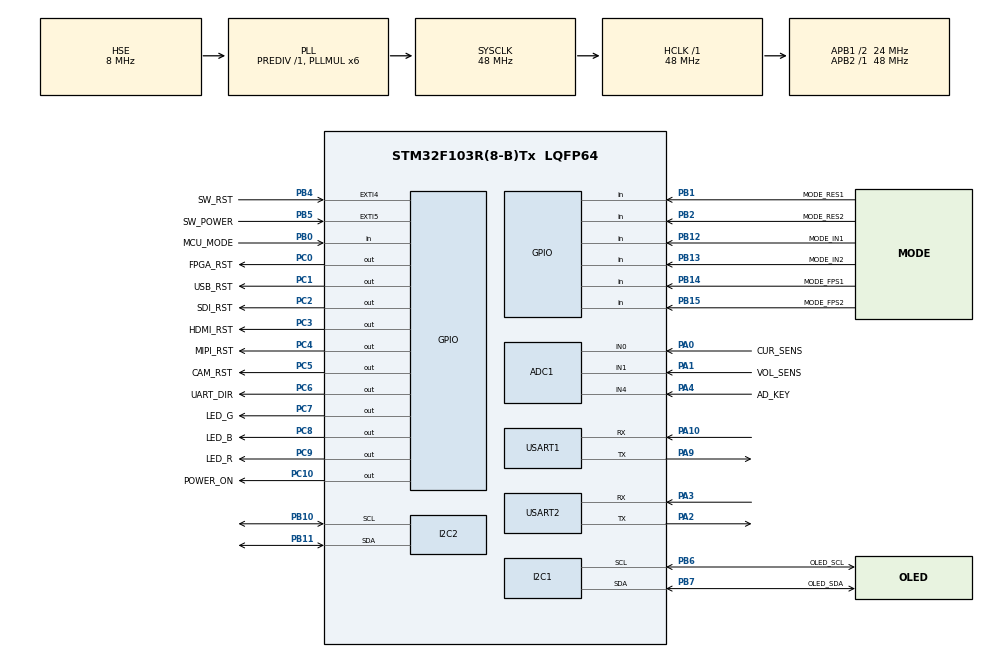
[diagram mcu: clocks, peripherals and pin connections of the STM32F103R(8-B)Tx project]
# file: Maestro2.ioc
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ADC1.Channel-0\#ChannelRegularConversion=ADC_CHANNEL_0
ADC1.Channel-1\#ChannelRegularConversion=ADC_CHANNEL_1
ADC1.Channel-2\#ChannelRegularConversion=ADC_CHANNEL_4
ADC1.NbrOfConversion=3
ADC1.NbrOfConversionFlag=1
ADC1.Rank-0\#ChannelRegularConversion=1
ADC1.Rank-1\#ChannelRegularConversion=2
ADC1.Rank-2\#ChannelRegularConversion=3
ADC1.SamplingTime-0\#ChannelRegularConversion=ADC_SAMPLETIME_28CYCLES_5
ADC1.SamplingTime-1\#ChannelRegularConversion=ADC_SAMPLETIME_28CYCLES_5
ADC1.SamplingTime-2\#ChannelRegularConversion=ADC_SAMPLETIME_28CYCLES_5
ADC1.master=1
Dma.ADC1.0.Direction=DMA_PERIPH_TO_MEMORY
Dma.ADC1.0.Instance=DMA1_Channel1
Dma.ADC1.0.MemDataAlignment=DMA_MDATAALIGN_WORD
Dma.ADC1.0.MemInc=DMA_MINC_ENABLE
Dma.ADC1.0.Mode=DMA_CIRCULAR
Dma.ADC1.0.PeriphDataAlignment=DMA_PDATAALIGN_WORD
Dma.ADC1.0.PeriphInc=DMA_PINC_DISABLE
Dma.ADC1.0.Priority=DMA_PRIORITY_LOW
Dma.Request0=ADC1
I2C1.I2C_Mode=I2C_Fast
I2C2.I2C_Mode=I2C_Fast
Mcu.Family=STM32F1
Mcu.Name=STM32F103R(8-B)Tx
Mcu.Package=LQFP64
NVIC.DMA1_Channel1_IRQn=true\:0\:0\:false\:false\:true\:false\:true\:true
NVIC.EXTI4_IRQn=true\:0\:0\:false\:false\:true\:true\:true\:true
NVIC.EXTI9_5_IRQn=true\:0\:0\:false\:false\:true\:true\:true\:true
NVIC.PriorityGroup=NVIC_PRIORITYGROUP_4
NVIC.TIM2_IRQn=true\:0\:0\:false\:false\:true\:true\:true\:true
PA0-WKUP.GPIO_Label=CUR_SENS
PA0-WKUP.Signal=ADCx_IN0
PA1.GPIO_Label=VOL_SENS
PA1.Signal=ADCx_IN1
PA10.Mode=Asynchronous
PA10.Signal=USART1_RX
PA13.Mode=Serial_Wire
PA13.Signal=SYS_JTMS-SWDIO
PA14.Mode=Serial_Wire
PA14.Signal=SYS_JTCK-SWCLK
PA2.Mode=Asynchronous
PA2.Signal=USART2_TX
PA3.Mode=Asynchronous
PA3.Signal=USART2_RX
PA4.GPIO_Label=AD_KEY
PA4.Signal=ADCx_IN4
PA9.Mode=Asynchronous
PA9.Signal=USART1_TX
PB0.GPIO_Label=MCU_MODE
PB0.Signal=GPIO_Input
PB1.GPIO_Label=MODE_RES1
PB1.Signal=GPIO_Input
PB10.Mode=I2C
PB10.Signal=I2C2_SCL
PB11.Mode=I2C
PB11.Signal=I2C2_SDA
PB12.GPIO_Label=MODE_IN1
PB12.Signal=GPIO_Input
PB13.GPIO_Label=MODE_IN2
PB13.Signal=GPIO_Input
PB14.GPIO_Label=MODE_FPS1
PB14.Signal=GPIO_Input
PB15.GPIO_Label=MODE_FPS2
PB15.Signal=GPIO_Input
PB2.GPIO_Label=MODE_RES2
PB2.Signal=GPIO_Input
PB4.GPIO_Label=SW_RST
PB4.GPIO_ModeDefaultEXTI=GPIO_MODE_IT_FALLING
PB4.Signal=GPXTI4
PB5.GPIO_Label=SW_POWER
PB5.GPIO_ModeDefaultEXTI=GPIO_MODE_IT_RISING_FALLING
PB5.Signal=GPXTI5
PB6.GPIO_Label=OLED_SCL
PB6.Mode=I2C
PB6.Signal=I2C1_SCL
PB7.GPIO_Label=OLED_SDA
PB7.Mode=I2C
PB7.Signal=I2C1_SDA
PC0.GPIO_Label=FPGA_RST
PC0.Signal=GPIO_Output
PC1.GPIO_Label=USB_RST
PC1.Signal=GPIO_Output
PC10.GPIO_Label=POWER_ON
PC10.Signal=GPIO_Output
PC2.GPIO_Label=SDI_RST
PC2.Signal=GPIO_Output
PC3.GPIO_Label=HDMI_RST
PC3.Signal=GPIO_Output
PC4.GPIO_Label=MIPI_RST
PC4.Signal=GPIO_Output
PC5.GPIO_Label=CAM_RST
PC5.Signal=GPIO_Output
PC6.GPIO_Label=UART_DIR
PC6.Signal=GPIO_Output
PC7.GPIO_Label=LED_G
PC7.Signal=GPIO_Output
PC8.GPIO_Label=LED_B
PC8.Signal=GPIO_Output
PC9.GPIO_Label=LED_R
PC9.Signal=GPIO_Output
PD0-OSC_IN.Mode=HSE-External-Oscillator
PD0-OSC_IN.Signal=RCC_OSC_IN
PD1-OSC_OUT.Mode=HSE-External-Oscillator
PD1-OSC_OUT.Signal=RCC_OSC_OUT
ProjectManager.HeapSize=0x200
ProjectManager.StackSize=0x400
ProjectManager.TargetToolchain=CMake
RCC.ADCPresc=RCC_ADCPCLK2_DIV4
RCC.AHBFreq_Value=48000000
RCC.APB1CLKDivider=RCC_HCLK_DIV2
RCC.APB1Freq_Value=24000000
RCC.APB1TimFreq_Value=48000000
RCC.APB2Freq_Value=48000000
RCC.APB2TimFreq_Value=48000000
RCC.HCLKFreq_Value=48000000
RCC.PLLMUL=RCC_PLL_MUL6
RCC.PLLSourceVirtual=RCC_PLLSOURCE_HSE
RCC.SYSCLKFreq_VALUE=48000000
RCC.SYSCLKSource=RCC_SYSCLKSOURCE_PLLCLK
RCC.USBFreq_Value=48000000
SH.ADCx_IN0.0=ADC1_IN0,IN0
SH.ADCx_IN1.0=ADC1_IN1,IN1
SH.ADCx_IN4.0=ADC1_IN4,IN4
TIM1.Period=999
TIM1.Prescaler=47
TIM2.Period=9999
TIM2.Prescaler=47
TIM3.Period=9999
TIM3.Prescaler=47
USART1.VirtualMode=VM_ASYNC
USART2.VirtualMode=VM_ASYNC
VP_TIM1_VS_ClockSourceINT.Mode=Internal
VP_TIM2_VS_ClockSourceINT.Mode=Internal
VP_TIM3_VS_ClockSourceINT.Mode=Internal
board=custom

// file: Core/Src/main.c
/* USER CODE BEGIN Header */
/**
  ******************************************************************************
  * @file           : main.c
  * @brief          : Main program body
  ******************************************************************************
  * @attention
  *
  * Copyright (c) 2025 STMicroelectronics.
  * All rights reserved.
  *
  * This software is licensed under terms that can be found in the LICENSE file
  * in the root directory of this software component.
  * If no LICENSE file comes with this software, it is provided AS-IS.
  *
  ******************************************************************************
  */
/* USER CODE END Header */
#include "main.h"

/* USER CODE BEGIN Includes */
#include <tca9555.h>
//#include "SIL9136.h"
#include "ssd1306.h"
#include "ssd1306_tests.h"
#include <stdbool.h>
#include <comm.h>

/* USER CODE END Includes */

/* USER CODE BEGIN PD */
//#define UART_PRINT
//#define TEST_POWERLED

/* USER CODE END PD */

ADC_HandleTypeDef hadc1;
DMA_HandleTypeDef hdma_adc1;

I2C_HandleTypeDef hi2c1;
I2C_HandleTypeDef hi2c2;

TIM_HandleTypeDef htim1;
TIM_HandleTypeDef htim2;
TIM_HandleTypeDef htim3;

UART_HandleTypeDef huart1;
UART_HandleTypeDef huart2;

/* USER CODE BEGIN PV */
volatile uint8_t _flag_scan;       // flag per 100ms
volatile uint8_t _count_scan;      // counter for TIM1
volatile uint8_t _time_reset;      // MCU <-> CAMERA receive data wait
volatile bool _status_power;       // status of cam power
volatile uint8_t _count_sec;
volatile uint8_t _mode_pic;
volatile uint16_t _status_led;
volatile uint8_t _status_mode;
volatile uint8_t error_code;

uint16_t _ADCvol;
uint16_t _ADCcur;
uint16_t _ADCkey;
uint8_t mode_OLED;
//uint8_t flag_camRx;
UARTStatus_t flag_camRX;
uint8_t _count_Rxwait;
uint16_t time_InfoDisplay;

// ADC DMA Variables
uint32_t gADCData[3] = {0,};

PowerLed _pled;

//visca_tx_type txCommand;
uint8_t txCommand[5] = {0x81, 0x09, 0x00, 0x37, 0xFF};

//UART RxD Variables
char str[100] = {0, };
uint8_t rxBuff[10] = {0, };
uint8_t rxBuff_temp[10];
uint8_t buff_count = 0;

bool cam_valid;

// CAMERA INFO
uint16_t _cam_model = 0;
uint16_t _cam_version = 0;

/* USER CODE END PV */

void SystemClock_Config(void);
static void MX_GPIO_Init(void);
static void MX_DMA_Init(void);
static void MX_ADC1_Init(void);
static void MX_I2C1_Init(void);
static void MX_I2C2_Init(void);
static void MX_USART1_UART_Init(void);
static void MX_USART2_UART_Init(void);
static void MX_TIM1_Init(void);
static void MX_TIM2_Init(void);
static void MX_TIM3_Init(void);
static void MX_NVIC_Init(void);
/* USER CODE BEGIN PFP */

void Operate_PowerLed(PowerLed);
void Operate_Led(uint8_t);
void Scan_ModeSwitch();
void Init_Board();
void Power_On();
void Power_Off();
void Scan_ADC();
void On_FPGA();
void On_USB();
void On_SDI();
void On_HDMI();
void On_MIPI();
void Parse_VISCA();
void Sel_uart(bool);
void Send_Message(uint8_t*);
void Check_Power();
//void ErrorHandler();

/* USER CODE END PFP */

/* USER CODE BEGIN 0 */

//--------- time polling function --------//
// _flag_scan : mode switch scan(per 1 s)
// _time_scan : time for CAN Rx wait(per 1 ms)
void HAL_TIM_PeriodElapsedCallback(TIM_HandleTypeDef *htim)
{
	if(htim->Instance == TIM2)
	{
		if(++_count_scan >= 100)
		{
			_flag_scan = 1;
			_count_scan = 0;
		}

	}
	if(htim->Instance == TIM3)
	{
		_time_reset++;
		if(_time_reset == 100)
		{
			//ErrorHandler(1);
			flag_camRX = CAM_RX_FAIL;
			mode_OLED = 2;
		}
	}
}

void HAL_GPIO_EXTI_Callback(uint16_t GPIO_Pin)
{
	if(GPIO_Pin == SW_POWER_Pin)    // power switch push
	{
		Check_Power();
	}
	else if(GPIO_Pin == SW_RST_Pin)    // reset switch push
	{
		if(_status_power == TRUE)
		{
			Sel_uart(TRUE);    // UART CAM <-> MCU
			if (HAL_UART_Transmit(&huart2, txCommand, sizeof(txCommand) / sizeof(uint8_t), 10 != HAL_OK))
			{
		    // 전송 실패 시 에러 처리
				//printf("Send Failed\r\n");
				Sel_uart(FALSE);
				return;
			}
			flag_camRX = CAM_RX_READY;
			_time_reset = 0;
			HAL_TIM_Base_Start_IT(&htim3);
		}
	}
}

void HAL_UART_RxCpltCallback(UART_HandleTypeDef *huart)
{
	if(huart->Instance == USART2)
	{
		if(flag_camRX == CAM_RX_READY)
		{
			if(rxBuff_temp[0] == 0x90)
			{
				buff_count = 0;
				rxBuff[buff_count] = rxBuff_temp[0];
			}
			else
			{
				buff_count++;
				rxBuff[buff_count] = rxBuff_temp[0];
			}

			if(rxBuff_temp[0] == 0xFF)
			{
				Parse_VISCA();
			}
		}
		HAL_UART_Receive_IT(&huart2, rxBuff_temp, 1);
	}
}

/*
 * @brief  카메라로부터의 uart received data 해석 (VISCA protocol)
 *         data format : y0 50 pp pp pp qq qq FF
 *         PPPPPP: Model Code
 *         qqqq : Version
 * @param
 * @param
 * @retval The sum of a and b.
 */

void Parse_VISCA()
{
	if(buff_count == 2 && rxBuff[1] == 0x38)    // CAM <-> MCU 연결시 CAM 전원 인가 후 RX Data
	{
		cam_valid = TRUE;    // Camera 통신 확인 0x90, 0x38, 0xFF

	}
	else if(buff_count == 7 && rxBuff[1] == 0x50)    // 81 09 00 37 FF(CAM_ModlelInq)에 대한 Reply
	{
		_cam_model = rxBuff[2] << 16 | rxBuff[3] << 8 | rxBuff[4];
		_cam_version = rxBuff[5] << 8 | rxBuff[6];
		mode_OLED = 1;
	}
	HAL_TIM_Base_Stop_IT(&htim3);
	flag_camRX = CAM_RX_IDLE;
	buff_count = 0;
#ifdef UART_PRINT
	sprintf(str, "rx time = %d", _time_reset);    // Test 결과 약 8~9 time 걸림
	printf("%s\r\n", str);
#endif
	Sel_uart(FALSE);    // UART 방향 변경: CAM <-> MCU => CAM <-> PC
}

void Send_Message(uint8_t* message)
{
	//HAL_UART_Transmit(&huart2, message, sizeof(message)/sizeof(uint8_t), 100);

}

void Operate_PowerLed(PowerLed pled)
{
	if(pled.command == 0)
	{
		HAL_GPIO_WritePin(LED_R_GPIO_Port, LED_R_Pin, GPIO_PIN_RESET);
		HAL_GPIO_WritePin(LED_G_GPIO_Port, LED_G_Pin, GPIO_PIN_RESET);
		HAL_GPIO_WritePin(LED_B_GPIO_Port, LED_B_Pin, GPIO_PIN_RESET);

	}
	else
	{
		switch(pled.color)
		{
			case RED:
				HAL_GPIO_WritePin(LED_R_GPIO_Port, LED_R_Pin, GPIO_PIN_SET);
				HAL_GPIO_WritePin(LED_G_GPIO_Port, LED_G_Pin, GPIO_PIN_RESET);
				HAL_GPIO_WritePin(LED_B_GPIO_Port, LED_B_Pin, GPIO_PIN_RESET);
				break;
			case GREEN:
				HAL_GPIO_WritePin(LED_R_GPIO_Port, LED_R_Pin, GPIO_PIN_RESET);
				HAL_GPIO_WritePin(LED_G_GPIO_Port, LED_G_Pin, GPIO_PIN_SET);
				HAL_GPIO_WritePin(LED_B_GPIO_Port, LED_B_Pin, GPIO_PIN_RESET);
				break;
			case BLUE:
				HAL_GPIO_WritePin(LED_R_GPIO_Port, LED_R_Pin, GPIO_PIN_RESET);
				HAL_GPIO_WritePin(LED_G_GPIO_Port, LED_G_Pin, GPIO_PIN_RESET);
				HAL_GPIO_WritePin(LED_B_GPIO_Port, LED_B_Pin, GPIO_PIN_SET);
				break;
			case ORANGE:
				HAL_GPIO_WritePin(LED_R_GPIO_Port, LED_R_Pin, GPIO_PIN_SET);
				HAL_GPIO_WritePin(LED_G_GPIO_Port, LED_G_Pin, GPIO_PIN_SET);
				HAL_GPIO_WritePin(LED_B_GPIO_Port, LED_B_Pin, GPIO_PIN_RESET);
				break;
			case PURPLE:
				HAL_GPIO_WritePin(LED_R_GPIO_Port, LED_R_Pin, GPIO_PIN_SET);
				HAL_GPIO_WritePin(LED_G_GPIO_Port, LED_G_Pin, GPIO_PIN_RESET);
				HAL_GPIO_WritePin(LED_B_GPIO_Port, LED_B_Pin, GPIO_PIN_SET);
				break;
			case SKYBLUE:
				HAL_GPIO_WritePin(LED_R_GPIO_Port, LED_R_Pin, GPIO_PIN_RESET);
				HAL_GPIO_WritePin(LED_G_GPIO_Port, LED_G_Pin, GPIO_PIN_SET);
				HAL_GPIO_WritePin(LED_B_GPIO_Port, LED_B_Pin, GPIO_PIN_SET);
				break;
			case WHITE:
				HAL_GPIO_WritePin(LED_R_GPIO_Port, LED_R_Pin, GPIO_PIN_SET);
				HAL_GPIO_WritePin(LED_G_GPIO_Port, LED_G_Pin, GPIO_PIN_SET);
				HAL_GPIO_WritePin(LED_B_GPIO_Port, LED_B_Pin, GPIO_PIN_SET);
				break;
			default:
				break;
		}
	}
}

void Operate_Led(uint8_t led)
{
	uint8_t i;
	for(i=0; i<8; i++)
	{
		if((led & i) == 0x01)
		{
			HAL_GPIO_WritePin(LED_R_GPIO_Port, LED_R_Pin, GPIO_PIN_SET);
		}
		else
		{
			HAL_GPIO_WritePin(LED_R_GPIO_Port, LED_R_Pin, GPIO_PIN_RESET);
		}
	}
}

void loop() {
    if(HAL_GPIO_ReadPin(SW_RST_GPIO_Port, SW_RST_Pin) == GPIO_PIN_RESET) {

		ssd1306_TestAll();

    }
}

/* Mode Switch Scan Function
*
* mode_pic : 0(LVDS Single), 1(LVDS Dual), 2(BT.1120), 3(MIPI-CSI)
* mode_res : 0(720P), 1(1080P), 2(1440P)
* mode_fps : 0(30), 1(60)
*/

void Scan_ModeSwitch()
{
	uint16_t mode_switch;
	uint8_t mode_pic;
	uint8_t mode_res;
	uint8_t mode_fps;
	//HDMI_VIDEO_MODE hdmi_mode = HDMI_RES_720P_60;

	mode_pic = READ_BIT(GPIOB->IDR, MODE_IN1_Pin|MODE_IN2_Pin) >> 12;
	mode_res = READ_BIT(GPIOB->IDR, MODE_RES1_Pin|MODE_RES2_Pin) >> 1;
	mode_fps = READ_BIT(GPIOB->IDR, MODE_FPS1_Pin|MODE_FPS2_Pin) >> 14;

	mode_switch = mode_pic << 4 | mode_res << 2 | mode_fps ;

	if(mode_switch != _status_mode || _status_mode == 0x80)
	{
		_status_led |= 0x01FF;
		switch(mode_pic)
		{
			case 0:    // MIPI Mode
				//_status_led |= (1 << 3);
				_status_led &= ~(1 << 3);
				break;
			case 1:    // BT.1120 Mode
				//_status_led |= (1 << 2);
				_status_led &= ~(1 << 2);
				break;
			case 2:    // LVDS Dual Mode
				//_status_led |= (1 << 1);
				_status_led &= ~(1 << 1);
				break;
			case 3:    // LVDS Single Mode
				//_status_led |= (1 << 0);
				_status_led &= ~(1 << 0);
				break;
		}
		switch(mode_res)
		{
			case 0:
				//_status_led |= (1 << 6);
				break;
			case 1:    // 1440p
				_status_led &= ~(1 << 6);
				break;
			case 2:    // 1080p
				_status_led &= ~(1 << 5);
				break;
			case 3:    // 720p
				_status_led &= ~(1 << 4);
				break;
		}
		switch(mode_fps)
		{
			case 0:
				//_status_led |= (1 << 7);
				break;
			case 1:
				//_status_led |= (1 << 7);
				break;
			case 2:    // 60fps
				_status_led &= ~(1 << 8);
				break;
			case 3:    // 30fps
				_status_led &= ~(1 << 7);
				break;
		}

/*		switch (mode_switch & 0x000F)
		{
		case 0x0006:
			hdmi_mode = HDMI_RES_1440P_60;
			break;
		case 0x0007:
			hdmi_mode = HDMI_RES_1440P_30;
			break;
		case 0x000A:
			hdmi_mode = HDMI_RES_1080P_60;
			break;
		case 0x000B:
			hdmi_mode = HDMI_RES_1080P_30;
			break;
		case 0x000E:
			hdmi_mode = HDMI_RES_720P_60;
			break;
		case 0x000F:
			hdmi_mode = HDMI_RES_720P_30;
			break;
		} */

		TCA9555_WriteOutput(_status_led);
		//SIL9136_Init(hdmi_mode);

		_status_mode = mode_switch;
#ifdef UART_PRINT
//	sprintf(str, "switch = %x", _status_led);
//	printf("%s\r\n", str);
#endif
	}
}

void Check_Power()
{
	PowerLed pled;

	GPIO_PinState isInput = HAL_GPIO_ReadPin(SW_POWER_GPIO_Port, SW_POWER_Pin);
	if(isInput == GPIO_PIN_SET)
	{
		pled.command = ON;
		pled.color = BLUE;
		Operate_PowerLed(pled);
		HAL_GPIO_WritePin(POWER_ON_GPIO_Port, POWER_ON_Pin, GPIO_PIN_SET);
		_status_power = TRUE;
	}
	else
	{
		pled.command = ON;
		pled.color = GREEN;
		Operate_PowerLed(pled);
		HAL_GPIO_WritePin(POWER_ON_GPIO_Port, POWER_ON_Pin, GPIO_PIN_RESET);
		buff_count = 0;
		cam_valid = FALSE;
		_status_power = FALSE;
	}
}

void On_FPGA()
{
	HAL_GPIO_WritePin(FPGA_RST_GPIO_Port, FPGA_RST_Pin, GPIO_PIN_SET);
}
void On_USB()
{
	HAL_GPIO_WritePin(USB_RST_GPIO_Port, USB_RST_Pin, GPIO_PIN_SET);
}
void On_SDI()
{
	HAL_GPIO_WritePin(SDI_RST_GPIO_Port, SDI_RST_Pin, GPIO_PIN_SET);
}
void On_HDMI()
{
	HAL_GPIO_WritePin(HDMI_RST_GPIO_Port, HDMI_RST_Pin, GPIO_PIN_SET);
}

void On_MIPI()
{
	HAL_GPIO_WritePin(MIPI_RST_GPIO_Port, MIPI_RST_Pin, GPIO_PIN_SET);
	HAL_GPIO_WritePin(CAM_RST_GPIO_Port, CAM_RST_Pin, GPIO_PIN_SET);
}

void Sel_uart(bool dir)
{
	if(dir == TRUE)
		HAL_GPIO_WritePin(UART_DIR_GPIO_Port, UART_DIR_Pin, GPIO_PIN_SET);    // CAM <-> PC
	else
		HAL_GPIO_WritePin(UART_DIR_GPIO_Port, UART_DIR_Pin, GPIO_PIN_RESET);  // CAM <-> MCU
}

void Scan_ADC()
{
/*부동소수점 출력
 * C/C++ Build -> Setting -> MCU Setting -> Use float with printf from newlib-nano(-u_printf_float) 체크
 *
 * 	float ADCvol;
	float ADCcur;
	float ADCkey;
	HAL_ADC_Start_DMA(&hadc1, gADCData, 3);

	ADCvol = (float)((gADCData[0]>>2)*3.3)/1024;

	ADCcur = (float)((gADCData[1]>>2)*3.3*6)/1024;

	ADCkey = (float)((gADCData[2]>>2)*3.3)/1024;

#ifdef UART_PRINT
	sprintf(str, "ADC %.2f, %.2f, %.2f", ADCvol, ADCcur, ADCkey);
	printf("%s\r\n", str);
#endif */

	HAL_ADC_Start_DMA(&hadc1, gADCData, 3);
	// AD Value : 4095(0x0FFF) = 3.3V

	_ADCcur = ((gADCData[0]>>2)*33)/100;    // 소비전류 ,0.1 Ohms 사용시 x1, 0.01 Ohms 일 경우 x10

	_ADCvol = ((gADCData[1]>>2)*33*6)/100;    // 인가전압 12V 입력시 AD전압은 2V, Range : 0 ~ 19.8V

	_ADCkey = ((gADCData[2]>>2)*33)/100;    // AD Key

	#ifdef UART_PRINT
	//	sprintf(str, "ADC %d, %d, %d", _ADCvol, _ADCcur, _ADCkey);
	//	printf("%s\r\n", str);
	#endif
}

void Conf_OLED()
{
	if(mode_OLED == 1 && HAL_GPIO_ReadPin(SW_RST_GPIO_Port, SW_RST_Pin) == GPIO_PIN_RESET)
	{
	   	ssd1306_Display(CAM_INFO);
	}
	else if(mode_OLED == 2 && HAL_GPIO_ReadPin(SW_RST_GPIO_Port, SW_RST_Pin) == GPIO_PIN_RESET)
	{
		mode_OLED = 0;
	  	//if(_status_power == TRUE)
	   		//ssd1306_Display(NORMAL);
	   	//else
	  		ssd1306_Display(CAM_RX_FAIL);
	}
	else
	{
	  	mode_OLED = 0;
	  	if(_status_power == TRUE)
	   		ssd1306_Display(NORMAL);
	   	else
	  		ssd1306_Display(READY);
	}
}

void Init_Board()
{
	_status_mode = 0x80;
	_status_led = 0xFFFF;
	HAL_TIM_Base_Start_IT(&htim2);
	TCA9555_SetDirection(0x0000);    // IO Expander All Output

	HAL_Delay(10);

	On_FPGA();
	On_USB();
	On_SDI();
	On_HDMI();
	On_MIPI();

	ssd1306_Init();

	Check_Power();
	Sel_uart(FALSE);    // CAM <-> External uart connect
}

/* USER CODE END 0 */

int main(void)
{

  /* MCU Configuration--------------------------------------------------------*/

  /* Reset of all peripherals, Initializes the Flash interface and the Systick. */
  HAL_Init();

  /* Configure the system clock */
  SystemClock_Config();

  /* Initialize all configured peripherals */
  MX_GPIO_Init();
  MX_DMA_Init();
  MX_ADC1_Init();
  MX_I2C1_Init();
  MX_I2C2_Init();
  MX_USART1_UART_Init();
  MX_USART2_UART_Init();
  MX_TIM1_Init();
  MX_TIM2_Init();
  MX_TIM3_Init();

  /* Initialize interrupts */
  MX_NVIC_Init();
  /* USER CODE BEGIN 2 */
  // Timer Initialize
  Init_Board();
  HAL_UART_Receive_IT(&huart2, rxBuff_temp, 1);

  /* USER CODE END 2 */

  /* Infinite loop */
  /* USER CODE BEGIN WHILE */
  while (1)
  {
//	  loop();
	  if(_flag_scan == 1)
      {
	    _flag_scan = 0;
	    Scan_ModeSwitch();
	    Scan_ADC();

	    // CAM Info Data 수신 완료 && Reset 스위치 눌려 있는 동안 OLED CAM Info Display

	    Conf_OLED();
	    /*if(mode_OLED == 1 && HAL_GPIO_ReadPin(SW_RST_GPIO_Port, SW_RST_Pin) == GPIO_PIN_RESET)
	    {
	    	ssd1306_Display(CAM_INFO);
	    }
	    else
	    {
	    	mode_OLED = 0;
	    	if(_status_power == TRUE)
	    		ssd1306_Display(NORMAL);
	    	else
	    		ssd1306_Display(READY);

	    }*/

#ifdef TEST_POWERLED
	  		 _pled.color = (++_count_sec)%7;
	  		 _pled.command = ON;
	  		 Operate_PowerLed(_pled);
//	  		PCA8575_SetPin(0, GPIO_PIN_RESET);
#endif
	  	  }
    /* USER CODE END WHILE */

  }
}

void SystemClock_Config(void)
{
  RCC_OscInitTypeDef RCC_OscInitStruct = {0};
  RCC_ClkInitTypeDef RCC_ClkInitStruct = {0};
  RCC_PeriphCLKInitTypeDef PeriphClkInit = {0};

  /** Initializes the RCC Oscillators according to the specified parameters
  * in the RCC_OscInitTypeDef structure.
  */
  RCC_OscInitStruct.OscillatorType = RCC_OSCILLATORTYPE_HSE;
  RCC_OscInitStruct.HSEState = RCC_HSE_ON;
  RCC_OscInitStruct.HSEPredivValue = RCC_HSE_PREDIV_DIV1;
  RCC_OscInitStruct.HSIState = RCC_HSI_ON;
  RCC_OscInitStruct.PLL.PLLState = RCC_PLL_ON;
  RCC_OscInitStruct.PLL.PLLSource = RCC_PLLSOURCE_HSE;
  RCC_OscInitStruct.PLL.PLLMUL = RCC_PLL_MUL6;
  if (HAL_RCC_OscConfig(&RCC_OscInitStruct) != HAL_OK)
  {
    Error_Handler();
  }

  /** Initializes the CPU, AHB and APB buses clocks
  */
  RCC_ClkInitStruct.ClockType = RCC_CLOCKTYPE_HCLK|RCC_CLOCKTYPE_SYSCLK
                              |RCC_CLOCKTYPE_PCLK1|RCC_CLOCKTYPE_PCLK2;
  RCC_ClkInitStruct.SYSCLKSource = RCC_SYSCLKSOURCE_PLLCLK;
  RCC_ClkInitStruct.AHBCLKDivider = RCC_SYSCLK_DIV1;
  RCC_ClkInitStruct.APB1CLKDivider = RCC_HCLK_DIV2;
  RCC_ClkInitStruct.APB2CLKDivider = RCC_HCLK_DIV1;

  if (HAL_RCC_ClockConfig(&RCC_ClkInitStruct, FLASH_LATENCY_1) != HAL_OK)
  {
    Error_Handler();
  }
  PeriphClkInit.PeriphClockSelection = RCC_PERIPHCLK_ADC;
  PeriphClkInit.AdcClockSelection = RCC_ADCPCLK2_DIV4;
  if (HAL_RCCEx_PeriphCLKConfig(&PeriphClkInit) != HAL_OK)
  {
    Error_Handler();
  }
}

/**
  * @brief NVIC Configuration.
  * @retval None
  */
static void MX_NVIC_Init(void)
{
  /* USART2_IRQn interrupt configuration */
  HAL_NVIC_SetPriority(USART2_IRQn, 0, 0);
  HAL_NVIC_EnableIRQ(USART2_IRQn);
  /* USART1_IRQn interrupt configuration */
  HAL_NVIC_SetPriority(USART1_IRQn, 0, 0);
  HAL_NVIC_EnableIRQ(USART1_IRQn);
}

static void MX_ADC1_Init(void)
{

  ADC_ChannelConfTypeDef sConfig = {0};

  /** Common config
  */
  hadc1.Instance = ADC1;
  hadc1.Init.ScanConvMode = ADC_SCAN_ENABLE;
  hadc1.Init.ContinuousConvMode = DISABLE;
  hadc1.Init.DiscontinuousConvMode = DISABLE;
  hadc1.Init.ExternalTrigConv = ADC_SOFTWARE_START;
  hadc1.Init.DataAlign = ADC_DATAALIGN_RIGHT;
  hadc1.Init.NbrOfConversion = 3;
  if (HAL_ADC_Init(&hadc1) != HAL_OK)
  {
    Error_Handler();
  }

  /** Configure Regular Channel
  */
  sConfig.Channel = ADC_CHANNEL_0;
  sConfig.Rank = ADC_REGULAR_RANK_1;
  sConfig.SamplingTime = ADC_SAMPLETIME_28CYCLES_5;
  if (HAL_ADC_ConfigChannel(&hadc1, &sConfig) != HAL_OK)
  {
    Error_Handler();
  }

  /** Configure Regular Channel
  */
  sConfig.Channel = ADC_CHANNEL_1;
  sConfig.Rank = ADC_REGULAR_RANK_2;
  if (HAL_ADC_ConfigChannel(&hadc1, &sConfig) != HAL_OK)
  {
    Error_Handler();
  }

  /** Configure Regular Channel
  */
  sConfig.Channel = ADC_CHANNEL_4;
  sConfig.Rank = ADC_REGULAR_RANK_3;
  if (HAL_ADC_ConfigChannel(&hadc1, &sConfig) != HAL_OK)
  {
    Error_Handler();
  }

}

static void MX_I2C1_Init(void)
{

  hi2c1.Instance = I2C1;
  hi2c1.Init.ClockSpeed = 400000;
  hi2c1.Init.DutyCycle = I2C_DUTYCYCLE_2;
  hi2c1.Init.OwnAddress1 = 0;
  hi2c1.Init.AddressingMode = I2C_ADDRESSINGMODE_7BIT;
  hi2c1.Init.DualAddressMode = I2C_DUALADDRESS_DISABLE;
  hi2c1.Init.OwnAddress2 = 0;
  hi2c1.Init.GeneralCallMode = I2C_GENERALCALL_DISABLE;
  hi2c1.Init.NoStretchMode = I2C_NOSTRETCH_DISABLE;
  if (HAL_I2C_Init(&hi2c1) != HAL_OK)
  {
    Error_Handler();
  }

}

static void MX_I2C2_Init(void)
{

  hi2c2.Instance = I2C2;
  hi2c2.Init.ClockSpeed = 400000;
  hi2c2.Init.DutyCycle = I2C_DUTYCYCLE_2;
  hi2c2.Init.OwnAddress1 = 0;
  hi2c2.Init.AddressingMode = I2C_ADDRESSINGMODE_7BIT;
  hi2c2.Init.DualAddressMode = I2C_DUALADDRESS_DISABLE;
  hi2c2.Init.OwnAddress2 = 0;
  hi2c2.Init.GeneralCallMode = I2C_GENERALCALL_DISABLE;
  hi2c2.Init.NoStretchMode = I2C_NOSTRETCH_DISABLE;
  if (HAL_I2C_Init(&hi2c2) != HAL_OK)
  {
    Error_Handler();
  }

}

static void MX_TIM1_Init(void)
{

  TIM_ClockConfigTypeDef sClockSourceConfig = {0};
  TIM_MasterConfigTypeDef sMasterConfig = {0};

  htim1.Instance = TIM1;
  htim1.Init.Prescaler = 47;
  htim1.Init.CounterMode = TIM_COUNTERMODE_UP;
  htim1.Init.Period = 999;
  htim1.Init.ClockDivision = TIM_CLOCKDIVISION_DIV1;
  htim1.Init.RepetitionCounter = 0;
  htim1.Init.AutoReloadPreload = TIM_AUTORELOAD_PRELOAD_DISABLE;
  if (HAL_TIM_Base_Init(&htim1) != HAL_OK)
  {
    Error_Handler();
  }
  sClockSourceConfig.ClockSource = TIM_CLOCKSOURCE_INTERNAL;
  if (HAL_TIM_ConfigClockSource(&htim1, &sClockSourceConfig) != HAL_OK)
  {
    Error_Handler();
  }
  sMasterConfig.MasterOutputTrigger = TIM_TRGO_RESET;
  sMasterConfig.MasterSlaveMode = TIM_MASTERSLAVEMODE_DISABLE;
  if (HAL_TIMEx_MasterConfigSynchronization(&htim1, &sMasterConfig) != HAL_OK)
  {
    Error_Handler();
  }

}

static void MX_TIM2_Init(void)
{

  TIM_ClockConfigTypeDef sClockSourceConfig = {0};
  TIM_MasterConfigTypeDef sMasterConfig = {0};

  htim2.Instance = TIM2;
  htim2.Init.Prescaler = 47;
  htim2.Init.CounterMode = TIM_COUNTERMODE_UP;
  htim2.Init.Period = 9999;
  htim2.Init.ClockDivision = TIM_CLOCKDIVISION_DIV1;
  htim2.Init.AutoReloadPreload = TIM_AUTORELOAD_PRELOAD_DISABLE;
  if (HAL_TIM_Base_Init(&htim2) != HAL_OK)
  {
    Error_Handler();
  }
  sClockSourceConfig.ClockSource = TIM_CLOCKSOURCE_INTERNAL;
  if (HAL_TIM_ConfigClockSource(&htim2, &sClockSourceConfig) != HAL_OK)
  {
    Error_Handler();
  }
  sMasterConfig.MasterOutputTrigger = TIM_TRGO_RESET;
  sMasterConfig.MasterSlaveMode = TIM_MASTERSLAVEMODE_DISABLE;
  if (HAL_TIMEx_MasterConfigSynchronization(&htim2, &sMasterConfig) != HAL_OK)
  {
    Error_Handler();
  }

}

static void MX_TIM3_Init(void)
{

  TIM_ClockConfigTypeDef sClockSourceConfig = {0};
  TIM_MasterConfigTypeDef sMasterConfig = {0};

  htim3.Instance = TIM3;
  htim3.Init.Prescaler = 47;
  htim3.Init.CounterMode = TIM_COUNTERMODE_UP;
  htim3.Init.Period = 999;
  htim3.Init.ClockDivision = TIM_CLOCKDIVISION_DIV1;
  htim3.Init.AutoReloadPreload = TIM_AUTORELOAD_PRELOAD_DISABLE;
  if (HAL_TIM_Base_Init(&htim3) != HAL_OK)
  {
    Error_Handler();
  }
  sClockSourceConfig.ClockSource = TIM_CLOCKSOURCE_INTERNAL;
  if (HAL_TIM_ConfigClockSource(&htim3, &sClockSourceConfig) != HAL_OK)
  {
    Error_Handler();
  }
  sMasterConfig.MasterOutputTrigger = TIM_TRGO_RESET;
  sMasterConfig.MasterSlaveMode = TIM_MASTERSLAVEMODE_DISABLE;
  if (HAL_TIMEx_MasterConfigSynchronization(&htim3, &sMasterConfig) != HAL_OK)
  {
    Error_Handler();
  }

}

static void MX_USART1_UART_Init(void)
{

  huart1.Instance = USART1;
  huart1.Init.BaudRate = 115200;
  huart1.Init.WordLength = UART_WORDLENGTH_8B;
  huart1.Init.StopBits = UART_STOPBITS_1;
  huart1.Init.Parity = UART_PARITY_NONE;
  huart1.Init.Mode = UART_MODE_TX_RX;
  huart1.Init.HwFlowCtl = UART_HWCONTROL_NONE;
  huart1.Init.OverSampling = UART_OVERSAMPLING_16;
  if (HAL_UART_Init(&huart1) != HAL_OK)
  {
    Error_Handler();
  }

}

static void MX_USART2_UART_Init(void)
{

  huart2.Instance = USART2;
  huart2.Init.BaudRate = 9600;
  huart2.Init.WordLength = UART_WORDLENGTH_8B;
  huart2.Init.StopBits = UART_STOPBITS_1;
  huart2.Init.Parity = UART_PARITY_NONE;
  huart2.Init.Mode = UART_MODE_TX_RX;
  huart2.Init.HwFlowCtl = UART_HWCONTROL_NONE;
  huart2.Init.OverSampling = UART_OVERSAMPLING_16;
  if (HAL_UART_Init(&huart2) != HAL_OK)
  {
    Error_Handler();
  }

}

static void MX_DMA_Init(void)
{

  /* DMA controller clock enable */
  __HAL_RCC_DMA1_CLK_ENABLE();

  /* DMA interrupt init */
  /* DMA1_Channel1_IRQn interrupt configuration */
  HAL_NVIC_SetPriority(DMA1_Channel1_IRQn, 0, 0);
  HAL_NVIC_EnableIRQ(DMA1_Channel1_IRQn);

}

static void MX_GPIO_Init(void)
{
  GPIO_InitTypeDef GPIO_InitStruct = {0};

  /* GPIO Ports Clock Enable */
  __HAL_RCC_GPIOD_CLK_ENABLE();
  __HAL_RCC_GPIOC_CLK_ENABLE();
  __HAL_RCC_GPIOA_CLK_ENABLE();
  __HAL_RCC_GPIOB_CLK_ENABLE();

  /*Configure GPIO pin Output Level */
  HAL_GPIO_WritePin(GPIOC, FPGA_RST_Pin|USB_RST_Pin|SDI_RST_Pin|HDMI_RST_Pin
                          |MIPI_RST_Pin|CAM_RST_Pin|UART_DIR_Pin|LED_G_Pin
                          |LED_B_Pin|LED_R_Pin|POWER_ON_Pin, GPIO_PIN_RESET);

  /*Configure GPIO pins : FPGA_RST_Pin USB_RST_Pin SDI_RST_Pin HDMI_RST_Pin
                           MIPI_RST_Pin CAM_RST_Pin UART_DIR_Pin LED_G_Pin
                           LED_B_Pin LED_R_Pin POWER_ON_Pin */
  GPIO_InitStruct.Pin = FPGA_RST_Pin|USB_RST_Pin|SDI_RST_Pin|HDMI_RST_Pin
                          |MIPI_RST_Pin|CAM_RST_Pin|UART_DIR_Pin|LED_G_Pin
                          |LED_B_Pin|LED_R_Pin|POWER_ON_Pin;
  GPIO_InitStruct.Mode = GPIO_MODE_OUTPUT_PP;
  GPIO_InitStruct.Pull = GPIO_NOPULL;
  GPIO_InitStruct.Speed = GPIO_SPEED_FREQ_LOW;
  HAL_GPIO_Init(GPIOC, &GPIO_InitStruct);

  /*Configure GPIO pins : MCU_MODE_Pin MODE_RES1_Pin MODE_RES2_Pin MODE_IN1_Pin
                           MODE_IN2_Pin MODE_FPS1_Pin MODE_FPS2_Pin */
  GPIO_InitStruct.Pin = MCU_MODE_Pin|MODE_RES1_Pin|MODE_RES2_Pin|MODE_IN1_Pin
                          |MODE_IN2_Pin|MODE_FPS1_Pin|MODE_FPS2_Pin;
  GPIO_InitStruct.Mode = GPIO_MODE_INPUT;
  GPIO_InitStruct.Pull = GPIO_NOPULL;
  HAL_GPIO_Init(GPIOB, &GPIO_InitStruct);

  /*Configure GPIO pin : SW_RST_Pin */
  GPIO_InitStruct.Pin = SW_RST_Pin;
  GPIO_InitStruct.Mode = GPIO_MODE_IT_FALLING;
  GPIO_InitStruct.Pull = GPIO_NOPULL;
  HAL_GPIO_Init(SW_RST_GPIO_Port, &GPIO_InitStruct);

  /*Configure GPIO pin : SW_POWER_Pin */
  GPIO_InitStruct.Pin = SW_POWER_Pin;
  GPIO_InitStruct.Mode = GPIO_MODE_IT_RISING_FALLING;
  GPIO_InitStruct.Pull = GPIO_NOPULL;
  HAL_GPIO_Init(SW_POWER_GPIO_Port, &GPIO_InitStruct);

  /* EXTI interrupt init*/
  HAL_NVIC_SetPriority(EXTI4_IRQn, 0, 0);
  HAL_NVIC_EnableIRQ(EXTI4_IRQn);

  HAL_NVIC_SetPriority(EXTI9_5_IRQn, 0, 0);
  HAL_NVIC_EnableIRQ(EXTI9_5_IRQn);

}

void Error_Handler(void)
{
  __disable_irq();
  while (1)
  {
  }
}
